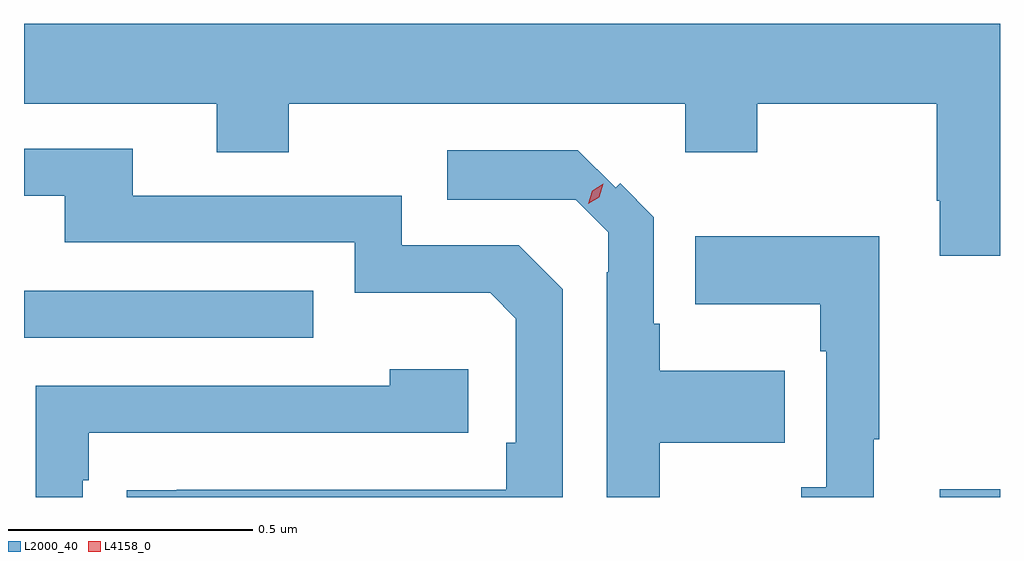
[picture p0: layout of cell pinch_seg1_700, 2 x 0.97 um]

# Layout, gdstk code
import gdstk
lib = gdstk.Library(unit=1e-6, precision=1e-09)
def R(c, l, rs):  # rectangles x0, y0, x1, y1
    for r in rs: c.add(gdstk.rectangle(r[:2], r[2:], *l))
def P(c, l, *ps):  # polygons
    for p in ps: c.add(gdstk.Polygon(p, *l))
L2000_40 = (2000, 40)
L4158_0 = (4158, 0)

pinch_seg1_700 = lib.new_cell('pinch_seg1_700')
R(pinch_seg1_700, L2000_40, [(666.107,562.914,666.23,562.93), (664.23,563.241,664.823,563.337)])
P(pinch_seg1_700, L2000_40, [(666.23,563.884),(664.23,563.884),(664.23,563.72),(664.625,563.72),(664.625,563.621),(664.773,563.621),(664.773,563.72),(665.585,563.72),(665.585,563.621),(665.733,563.621),(665.733,563.72),(666.1,563.72),(666.1,563.521),(666.107,563.521),(666.107,563.409),(666.23,563.409)],
  [(665.334,563.34),(665.244,563.43),(665.004,563.43),(665.004,563.532),(664.453,563.532),(664.453,563.628),(664.23,563.628),(664.23,563.532),(664.313,563.532),(664.313,563.436),(664.908,563.436),(664.908,563.333),(665.185,563.333),(665.238,563.28),(665.238,563.026),(665.218,563.026),(665.218,562.929),(664.543,562.929),(664.543,562.928),(664.441,562.928),(664.441,562.914),(665.334,562.914)],
  [(665.533,563.026),(665.789,563.026),(665.789,563.173),(665.533,563.173),(665.533,563.269),(665.52,563.269),(665.52,563.488),(665.452,563.557),(665.443,563.548),(665.365,563.625),(665.097,563.625),(665.097,563.523),(665.361,563.523),(665.427,563.457),(665.427,563.375),(665.424,563.375),(665.424,562.914),(665.533,562.914)],
  [(665.971,563.033),(665.983,563.033),(665.983,563.449),(665.605,563.449),(665.605,563.309),(665.862,563.309),(665.862,563.213),(665.874,563.213),(665.874,562.934),(665.823,562.934),(665.823,562.914),(665.971,562.914)],
  [(664.35,562.949),(664.363,562.949),(664.363,563.046),(665.14,563.046),(665.14,563.176),(664.979,563.176),(664.979,563.142),(664.254,563.142),(664.254,562.914),(664.35,562.914)])
P(pinch_seg1_700, L4158_0, [(665.386,563.515),(665.386,563.515),(665.394,563.542),(665.417,563.556),(665.417,563.556),(665.417,563.556),(665.409,563.529),(665.386,563.515)])

lib.write_gds('pinch_seg1_700.gds')
